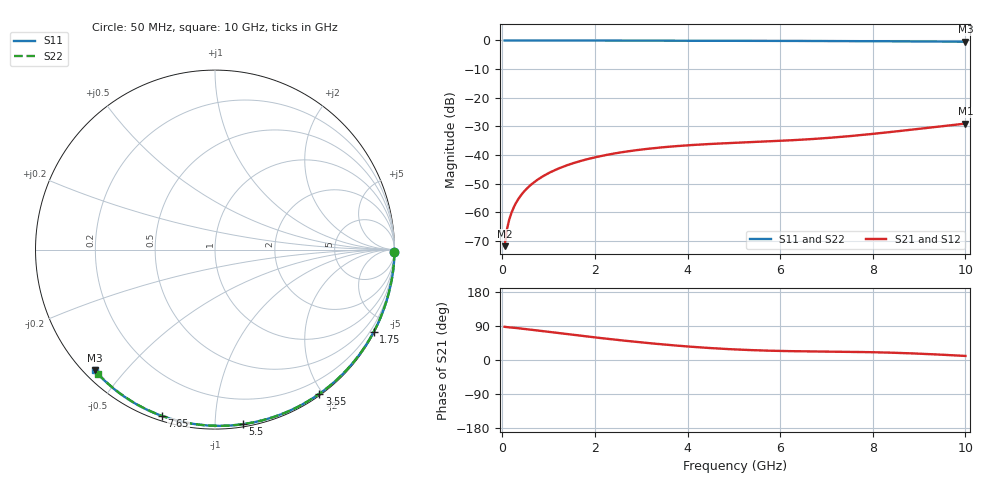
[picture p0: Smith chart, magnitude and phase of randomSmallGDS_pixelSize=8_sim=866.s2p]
! freq	dB(S11)	phase(S11)	dB(S12)	phase(S12)
!  dB(S21)	phase(S21)	dB(S22)	phase(S22)
!S-par simulation data
#  GHz  S  DB  R 50
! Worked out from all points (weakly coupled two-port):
!   200 points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, 50 MHz to 10 GHz, reference 50 ohm
!   highest |S21| = -29.00 dB at 10 GHz (marker M1); lowest = -71.7 dB at 50 MHz (marker M2)
!   lowest |S11| = -0.4 dB at 10 GHz (marker M3), VSWR 38.94, Z = 1.51 - j20.8 ohm
!   |S11| at or under -10 dB: nowhere
!   |S22| runs from -0.4 to 0.0 dB; largest |S21 - S12| = 0
!   S11 on the Smith chart (normalised r, x): 50 MHz: open; 1.75 GHz: 0.04, -4.11; 3.55 GHz: 0.02, -1.96; 5.5 GHz: 0.02, -1.17; 7.65 GHz: 0.02, -0.73; 10 GHz: 0.03, -0.42
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0.05  -0.00 -0.8  -71.74 87.6  -71.74 87.6  -0.00 -0.8
0.1  -0.00 -1.6  -65.90 86.7  -65.90 86.7  -0.00 -1.6
0.15  -0.00 -2.4  -62.47 86.2  -62.47 86.2  -0.00 -2.4
0.2  -0.00 -3.2  -60.02 85.7  -60.02 85.7  -0.00 -3.1
0.25  -0.00 -4.0  -58.11 85.1  -58.11 85.1  -0.00 -3.9
0.35  -0.00 -5.6  -55.22 83.8  -55.22 83.8  -0.00 -5.5
0.5  -0.01 -7.9  -52.16 81.7  -52.16 81.7  -0.01 -7.8
0.7  -0.01 -11.1  -49.28 78.7  -49.28 78.7  -0.01 -10.9
1  -0.02 -15.8  -46.28 74.2  -46.28 74.2  -0.02 -15.5
1.35  -0.03 -21.2  -43.81 69.0  -43.81 69.0  -0.03 -20.9
1.75  -0.03 -27.3  -41.77 63.2  -41.77 63.2  -0.03 -27.0
2.5  -0.05 -38.7  -39.20 52.8  -39.20 52.8  -0.05 -38.2
3.4  -0.07 -51.9  -37.36 41.9  -37.36 41.9  -0.07 -51.2
3.55  -0.07 -54.1  -37.13 40.2  -37.13 40.2  -0.07 -53.4
4.3  -0.09 -64.7  -36.27 33.1  -36.27 33.1  -0.09 -63.8
5.05  -0.11 -74.9  -35.68 27.8  -35.68 27.8  -0.11 -73.9
5.5  -0.13 -80.8  -35.37 25.6  -35.37 25.6  -0.13 -79.8
6.7  -0.18 -96.1  -34.37 22.6  -34.37 22.6  -0.18 -95.0
7.65  -0.24 -107.7  -33.14 21.3  -33.14 21.3  -0.24 -106.4
8.35  -0.29 -115.9  -31.99 19.5  -31.99 19.5  -0.29 -114.6
9.2  -0.36 -125.8  -30.46 15.7  -30.46 15.7  -0.36 -124.4
10  -0.45 -134.9  -29.00 10.7  -29.00 10.7  -0.44 -133.4
